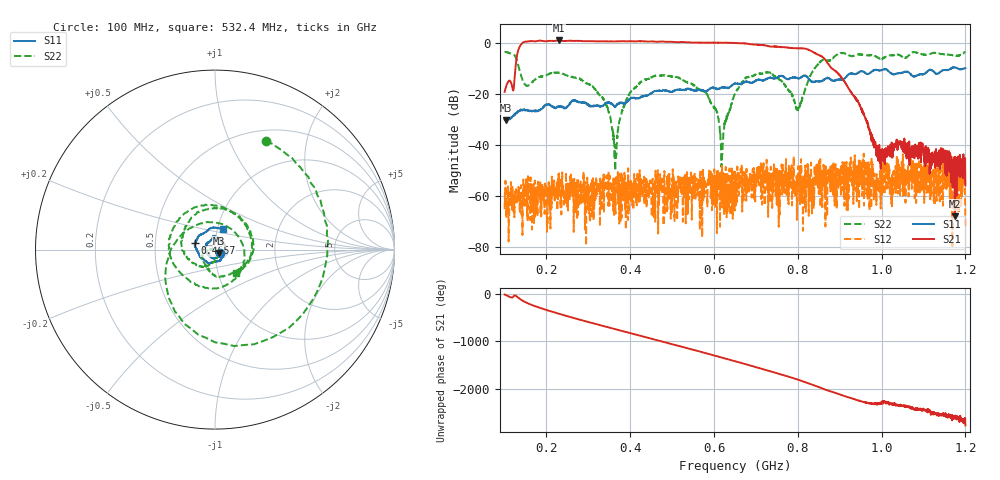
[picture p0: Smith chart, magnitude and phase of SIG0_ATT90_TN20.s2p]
# Hz S DB R 50
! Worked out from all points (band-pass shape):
!   1601 points, 100 MHz to 1.2 GHz, reference 50 ohm
!   highest |S21| = 0.98 dB at 229.2 MHz (marker M1); lowest = -67.8 dB at 1.175 GHz (marker M2)
!   |S21| within 3 dB of the highest: 134.3 MHz to 785.9 MHz (651.6 MHz wide, 142 % of centre); 786.3338 MHz to 787.3905 MHz (1.057 MHz wide, 0.134 % of centre)
!   lowest |S11| = -30.3 dB at 103.4 MHz (marker M3), VSWR 1.06, Z = 52.4 - j2.03 ohm
!   |S11| at or under -10 dB: start of sweep to 1.165 GHz; 1.182 GHz to 1.197 GHz (14.48 MHz wide, 1.22 % of centre); 1.197843 GHz to 1.198191 GHz (348 kHz wide, 0.029 % of centre)
!   |S22| runs from -50.0 to -3.5 dB; largest |S21 - S12| = 1.1
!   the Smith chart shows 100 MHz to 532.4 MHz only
!   S11 on the Smith chart (normalised r, x): 100 MHz: 1.05, -0.04; 465.8 MHz: 0.80, +0.06; 532.4 MHz: 1.06, +0.25
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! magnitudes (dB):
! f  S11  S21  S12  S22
! 100 MHz  -30.0  -19.1  -65.0  -3.5
! 103.4 MHz  -30.3  -17.1  -58.5  -3.5
! 142.6 MHz  -26.5  0.0  -75.1  -14.4
! 229.2 MHz  -25.0  1.0  -57.6  -11.7
! 283.6 MHz  -23.4  0.7  -62.6  -14.5
! 339.2 MHz  -23.9  0.7  -57.1  -23.0
! 364 MHz  -24.8  0.6  -60.7  -50.0
! 399.1 MHz  -21.8  0.7  -53.8  -19.6
! 465.8 MHz  -18.6  0.5  -49.8  -12.8
! 467.1 MHz  -18.7  0.5  -61.0  -12.8
! 532.4 MHz  -18.1  0.2  -70.6  -15.2
! 583.3 MHz  -18.7  0.1  -58.4  -20.2
! 618.4 MHz  -17.3  0.1  -62.4  -47.4
! 650 MHz  -15.8  0.0  -50.4  -19.9
! 731.1 MHz  -13.8  -1.3  -59.7  -11.5
! 799.9 MHz  -13.9  -2.2  -51.7  -25.9
! 833.6 MHz  -15.3  -3.3  -66.7  -11.7
! 992.4 MHz  -10.7  -46.1  -52.8  -5.9
! 1.017 GHz  -11.2  -43.1  -52.8  -4.9
! 1.175 GHz  -9.5  -67.8  -55.8  -4.9
! 1.193 GHz  -10.2  -47.7  -56.3  -4.2
! 1.2 GHz  -9.9  -55.8  -72.6  -3.5
